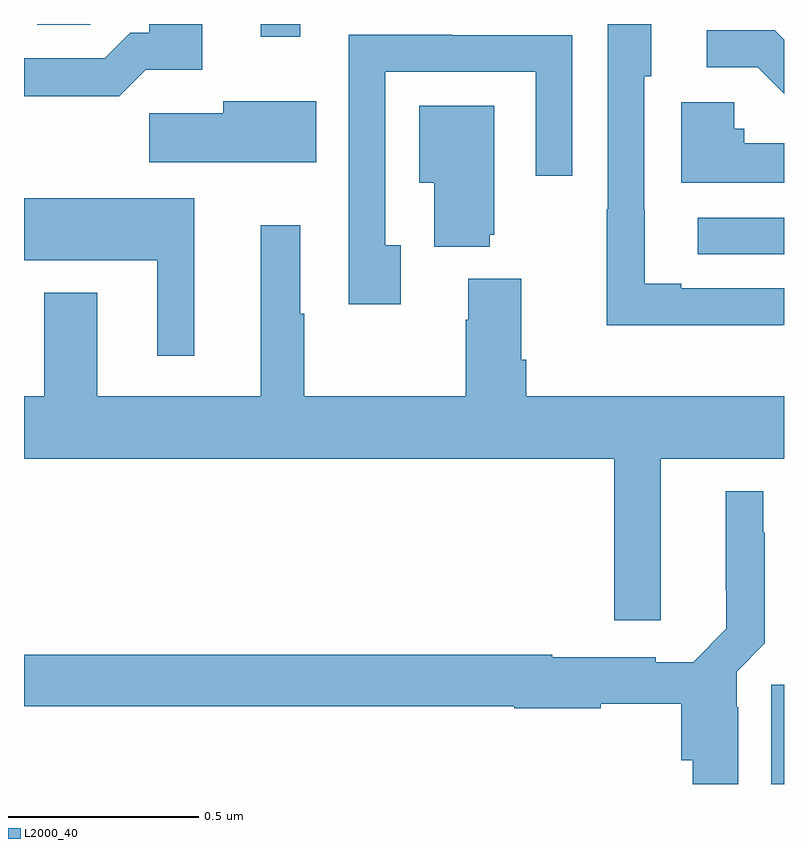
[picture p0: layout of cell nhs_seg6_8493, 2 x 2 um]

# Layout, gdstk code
import gdstk
lib = gdstk.Library(unit=1e-6, precision=1e-09)
def R(c, l, rs):  # rectangles x0, y0, x1, y1
    for r in rs: c.add(gdstk.rectangle(r[:2], r[2:], *l))
def P(c, l, *ps):  # polygons
    for p in ps: c.add(gdstk.Polygon(p, *l))
L2000_40 = (2000, 40)

nhs_seg6_8493 = lib.new_cell('nhs_seg6_8493')
R(nhs_seg6_8493, L2000_40, [(223.967,926.5,224,926.761), (223.773,927.894,224,927.99), (222.623,928.467,222.727,928.5), (222.035,928.498,222.174,928.5)])
P(nhs_seg6_8493, L2000_40, [(222.32,928.379),(222.469,928.379),(222.469,928.5),(222.329,928.5),(222.329,928.477),(222.28,928.477),(222.213,928.41),(222,928.41),(222,928.31),(222.251,928.31)],
  [(223.997,927.708),(224,927.708),(224,927.804),(223.729,927.804),(223.729,927.817),(223.633,927.817),(223.633,928.01),(223.632,928.01),(223.632,928.362),(223.651,928.362),(223.651,928.5),(223.536,928.5),(223.536,928.013),(223.534,928.013),(223.534,927.707),(223.997,927.707)],
  [(224,928.459),(223.975,928.484),(223.797,928.484),(223.797,928.386),(223.931,928.386),(224,928.317)],
  [(222.991,927.918),(222.951,927.918),(222.951,928.374),(223.347,928.374),(223.347,928.101),(223.443,928.101),(223.443,928.47),(223.127,928.47),(223.127,928.472),(222.855,928.472),(222.855,927.762),(222.991,927.762)],
  [(222.769,928.297),(222.524,928.297),(222.524,928.265),(222.33,928.265),(222.33,928.136),(222.769,928.136)],
  [(224,928.186),(223.896,928.186),(223.896,928.224),(223.869,928.224),(223.869,928.294),(223.73,928.294),(223.73,928.082),(224,928.082)],
  [(223.226,927.945),(223.237,927.945),(223.237,928.285),(223.04,928.285),(223.04,928.082),(223.079,928.082),(223.079,927.914),(223.226,927.914)],
  [(222.448,928.042),(222,928.042),(222,927.878),(222.35,927.878),(222.35,927.627),(222.448,927.627)],
  [(223.675,927.356),(224,927.356),(224,927.52),(223.322,927.52),(223.322,927.616),(223.309,927.616),(223.309,927.829),(223.169,927.829),(223.169,927.722),(223.162,927.722),(223.162,927.52),(222.737,927.52),(222.737,927.737),(222.727,927.737),(222.727,927.97),(222.623,927.97),(222.623,927.52),(222.193,927.52),(222.193,927.793),(222.053,927.793),(222.053,927.52),(222,927.52),(222,927.356),(223.553,927.356),(223.553,926.931),(223.675,926.931)],
  [(223.879,926.702),(223.875,926.702),(223.875,926.796),(223.949,926.87),(223.949,927.161),(223.945,927.161),(223.945,927.271),(223.847,927.271),(223.847,927.01),(223.848,927.01),(223.848,926.908),(223.761,926.821),(223.662,926.821),(223.662,926.833),(223.39,926.833),(223.39,926.84),(222,926.84),(222,926.704),(223.29,926.704),(223.29,926.699),(223.518,926.699),(223.518,926.711),(223.73,926.711),(223.73,926.562),(223.76,926.562),(223.76,926.5),(223.879,926.5)])

lib.write_gds('nhs_seg6_8493.gds')
